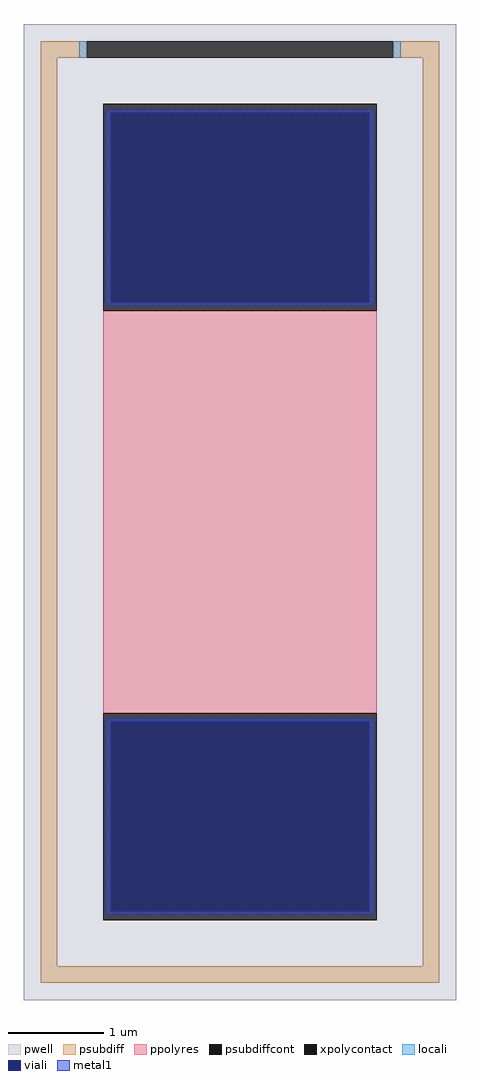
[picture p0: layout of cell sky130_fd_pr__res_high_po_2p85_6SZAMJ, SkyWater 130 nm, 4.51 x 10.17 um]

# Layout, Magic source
magic
tech sky130A
magscale 1 2
<< pwell >>
rect -451 -1017 451 1017
<< psubdiff >>
rect -415 947 -319 981
rect 319 947 415 981
rect -415 -947 -381 947
rect 381 -947 415 947
rect -415 -981 415 -947
<< psubdiffcont >>
rect -319 947 319 981
<< xpolycontact >>
rect -285 419 285 851
rect -285 -851 285 -419
<< ppolyres >>
rect -285 -419 285 419
<< locali >>
rect -335 947 -319 981
rect 319 947 335 981
<< viali >>
rect -269 436 269 833
rect -269 -833 269 -436
<< metal1 >>
rect -281 833 281 839
rect -281 436 -269 833
rect 269 436 281 833
rect -281 430 281 436
rect -281 -436 281 -430
rect -281 -833 -269 -436
rect 269 -833 281 -436
rect -281 -839 281 -833
<< properties >>
string FIXED_BBOX -398 -964 398 964
string gencell sky130_fd_pr__res_high_po_2p85
string library sky130
string parameters w 2.850 l 4.35 m 1 nx 1 wmin 2.850 lmin 0.50 rho 319.8 val 624.831 dummy 0 dw 0.0 term 194.82 sterm 0.0 caplen 0 guard 1 glc 0 grc 0 gtc 1 gbc 0 compatible {sky130_fd_pr__res_high_po_0p35  sky130_fd_pr__res_high_po_0p69 sky130_fd_pr__res_high_po_1p41  sky130_fd_pr__res_high_po_2p85 sky130_fd_pr__res_high_po_5p73} snake 0 full_metal 0 wmax 2.850 n_guard 0 hv_guard 0 vias 1 viagb 0 viagt 0 viagl 0 viagr 0
<< end >>
